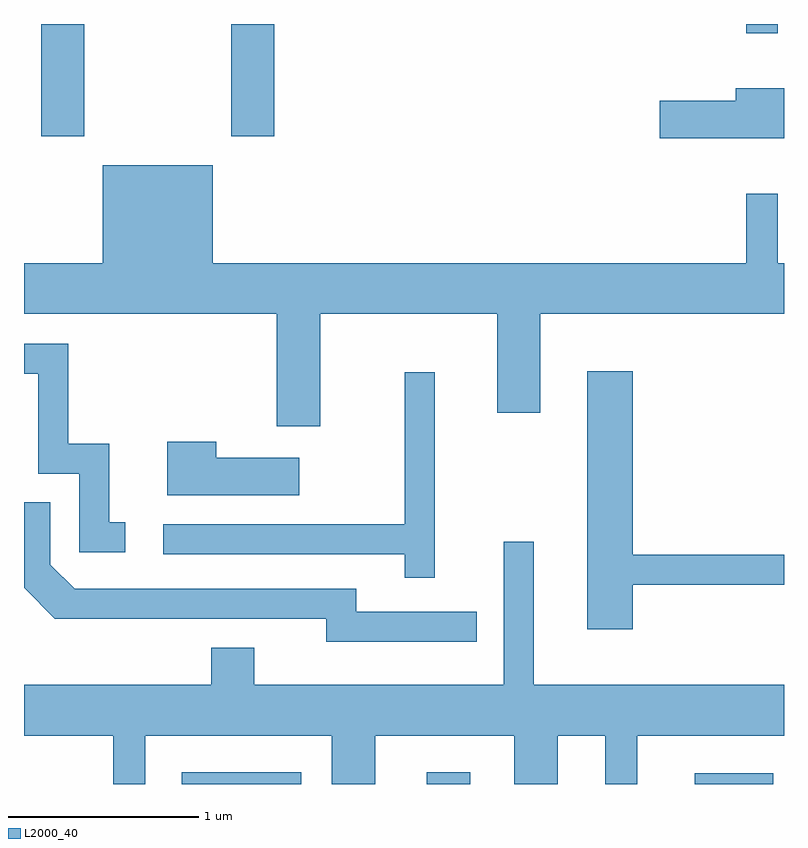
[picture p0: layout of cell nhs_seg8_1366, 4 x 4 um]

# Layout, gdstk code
import gdstk
lib = gdstk.Library(unit=1e-6, precision=1e-09)
def R(c, l, rs):  # rectangles x0, y0, x1, y1
    for r in rs: c.add(gdstk.rectangle(r[:2], r[2:], *l))
def P(c, l, *ps):  # polygons
    for p in ps: c.add(gdstk.Polygon(p, *l))
L2000_40 = (2000, 40)

nhs_seg8_1366 = lib.new_cell('nhs_seg8_1366')
R(nhs_seg8_1366, L2000_40, [(226.441,1878.342,227.069,1878.404), (227.731,1878.342,227.959,1878.404), (229.141,1878.342,229.554,1878.399), (225.701,1881.751,225.929,1882.342), (226.701,1881.751,226.929,1882.342), (229.411,1882.293,229.579,1882.342)])
P(nhs_seg8_1366, L2000_40, [(229.611,1882.004),(229.356,1882.004),(229.356,1881.939),(228.956,1881.939),(228.956,1881.741),(229.611,1881.741)],
  [(227.169,1880.816),(228.101,1880.816),(228.101,1880.296),(228.329,1880.296),(228.329,1880.816),(229.611,1880.816),(229.611,1881.084),(229.579,1881.084),(229.579,1881.448),(229.411,1881.448),(229.411,1881.084),(226.604,1881.084),(226.604,1881.599),(226.026,1881.599),(226.026,1881.084),(225.611,1881.084),(225.611,1880.816),(226.941,1880.816),(226.941,1880.226),(227.169,1880.226)],
  [(226.143,1879.719),(226.059,1879.719),(226.059,1880.134),(225.844,1880.134),(225.844,1880.659),(225.611,1880.659),(225.611,1880.501),(225.686,1880.501),(225.686,1879.976),(225.901,1879.976),(225.901,1879.561),(226.143,1879.561)],
  [(228.814,1879.391),(229.611,1879.391),(229.611,1879.549),(228.814,1879.549),(228.814,1880.514),(228.576,1880.514),(228.576,1879.156),(228.814,1879.156)],
  [(227.774,1880.508),(227.616,1880.508),(227.616,1879.709),(226.343,1879.709),(226.343,1879.551),(227.616,1879.551),(227.616,1879.428),(227.774,1879.428)],
  [(227.059,1880.059),(226.624,1880.059),(226.624,1880.144),(226.366,1880.144),(226.366,1879.861),(227.059,1879.861)],
  [(227.993,1879.249),(227.359,1879.249),(227.359,1879.369),(225.877,1879.369),(225.749,1879.497),(225.749,1879.824),(225.611,1879.824),(225.611,1879.374),(225.774,1879.211),(227.201,1879.211),(227.201,1879.091),(227.993,1879.091)],
  [(228.294,1879.618),(228.136,1879.618),(228.136,1878.864),(226.824,1878.864),(226.824,1879.059),(226.596,1879.059),(226.596,1878.864),(225.611,1878.864),(225.611,1878.596),(226.081,1878.596),(226.081,1878.342),(226.249,1878.342),(226.249,1878.596),(227.231,1878.596),(227.231,1878.342),(227.459,1878.342),(227.459,1878.596),(228.191,1878.596),(228.191,1878.342),(228.419,1878.342),(228.419,1878.596),(228.671,1878.596),(228.671,1878.342),(228.839,1878.342),(228.839,1878.596),(229.611,1878.596),(229.611,1878.864),(228.294,1878.864)])

lib.write_gds('nhs_seg8_1366.gds')
